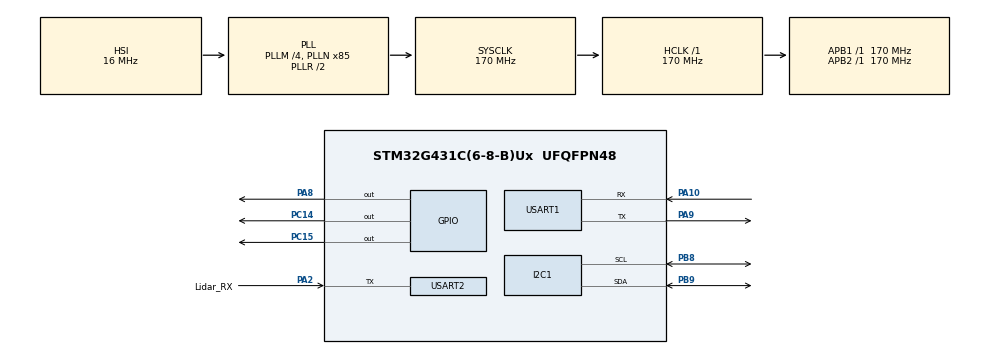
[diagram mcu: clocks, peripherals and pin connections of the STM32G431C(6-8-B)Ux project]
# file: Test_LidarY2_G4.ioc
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Dma.Request0=USART2_RX
Dma.USART2_RX.0.Direction=DMA_PERIPH_TO_MEMORY
Dma.USART2_RX.0.EventEnable=DISABLE
Dma.USART2_RX.0.Instance=DMA1_Channel1
Dma.USART2_RX.0.MemDataAlignment=DMA_MDATAALIGN_BYTE
Dma.USART2_RX.0.MemInc=DMA_MINC_ENABLE
Dma.USART2_RX.0.Mode=DMA_CIRCULAR
Dma.USART2_RX.0.PeriphDataAlignment=DMA_PDATAALIGN_BYTE
Dma.USART2_RX.0.PeriphInc=DMA_PINC_DISABLE
Dma.USART2_RX.0.Polarity=HAL_DMAMUX_REQ_GEN_RISING
Dma.USART2_RX.0.Priority=DMA_PRIORITY_LOW
Dma.USART2_RX.0.RequestNumber=1
Dma.USART2_RX.0.SignalID=NONE
Dma.USART2_RX.0.SyncEnable=DISABLE
Dma.USART2_RX.0.SyncPolarity=HAL_DMAMUX_SYNC_NO_EVENT
Dma.USART2_RX.0.SyncRequestNumber=1
Dma.USART2_RX.0.SyncSignalID=NONE
I2C1.Timing=0x40B285C2
Mcu.Family=STM32G4
Mcu.Name=STM32G431C(6-8-B)Ux
Mcu.Package=UFQFPN48
NVIC.DMA1_Channel1_IRQn=true\:0\:0\:false\:false\:true\:false\:true\:true
NVIC.PriorityGroup=NVIC_PRIORITYGROUP_4
PA10.Mode=Asynchronous
PA10.Signal=USART1_RX
PA13.Mode=Serial_Wire
PA13.Signal=SYS_JTMS-SWDIO
PA14.Mode=Serial_Wire
PA14.Signal=SYS_JTCK-SWCLK
PA2.GPIO_Label=Lidar_RX
PA2.Mode=Half_duplex(single_wire_mode)
PA2.Signal=USART2_TX
PA8.Signal=GPIO_Output
PA9.Mode=Asynchronous
PA9.Signal=USART1_TX
PB8-BOOT0.Mode=I2C
PB8-BOOT0.Signal=I2C1_SCL
PB9.Mode=I2C
PB9.Signal=I2C1_SDA
PC14-OSC32_IN.Signal=GPIO_Output
PC15-OSC32_OUT.Signal=GPIO_Output
ProjectManager.HeapSize=0x200
ProjectManager.StackSize=0x400
ProjectManager.TargetToolchain=STM32CubeIDE
RCC.ADC12Freq_Value=170000000
RCC.AHBFreq_Value=170000000
RCC.APB1Freq_Value=170000000
RCC.APB1TimFreq_Value=170000000
RCC.APB2Freq_Value=170000000
RCC.APB2TimFreq_Value=170000000
RCC.CortexFreq_Value=170000000
RCC.EXTERNAL_CLOCK_VALUE=12288000
RCC.HCLKFreq_Value=170000000
RCC.HSE_VALUE=8000000
RCC.HSI48_VALUE=48000000
RCC.HSI_VALUE=16000000
RCC.LSE_VALUE=32768
RCC.PLLM=RCC_PLLM_DIV4
RCC.PLLN=85
RCC.SYSCLKFreq_VALUE=170000000
RCC.SYSCLKSource=RCC_SYSCLKSOURCE_PLLCLK
RCC.USBFreq_Value=170000000
RCC.VCOOutputFreq_Value=340000000
USART1.VirtualMode-Asynchronous=VM_ASYNC
USART2.Mode=MODE_RX
USART2.VirtualMode-Half_duplex(single_wire_mode)=VM_ASYNC
VP_SYS_VS_DBSignals.Mode=DisableDeadBatterySignals
board=custom

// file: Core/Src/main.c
/* USER CODE BEGIN Header */
/**
  ******************************************************************************
  * @file           : main.c
  * @brief          : Main program body
  ******************************************************************************
  * @attention
  *
  * Copyright (c) 2025 STMicroelectronics.
  * All rights reserved.
  *
  * This software is licensed under terms that can be found in the LICENSE file
  * in the root directory of this software component.
  * If no LICENSE file comes with this software, it is provided AS-IS.
  *
  ******************************************************************************
  */
/* USER CODE END Header */
#include "main.h"
#include "dma.h"
#include "i2c.h"
#include "usart.h"
#include "gpio.h"

/* USER CODE BEGIN Includes */
#include <string.h>
#include <stdio.h>
#include "ydlidar.h"
/* USER CODE END Includes */

/* USER CODE BEGIN PD */
#define DMA_RX_BUFFER_SIZE 1024
/* USER CODE END PD */

/* USER CODE BEGIN PV */
uint8_t dma_rx_buffer[DMA_RX_BUFFER_SIZE];
/* USER CODE END PV */

void SystemClock_Config(void);

/* USER CODE BEGIN 0 */
int __io_putchar(int ch)
{
	HAL_UART_Transmit(&huart1, (uint8_t*)&ch, 1, HAL_MAX_DELAY);
	return ch;
}
/* USER CODE END 0 */

int main(void)
{

  /* MCU Configuration--------------------------------------------------------*/

  /* Reset of all peripherals, Initializes the Flash interface and the Systick. */
  HAL_Init();

  /* Configure the system clock */
  SystemClock_Config();

  /* Initialize all configured peripherals */
  MX_GPIO_Init();
  MX_DMA_Init();
  MX_USART2_UART_Init();
  MX_USART1_UART_Init();
  MX_I2C1_Init();
  /* USER CODE BEGIN 2 */
  ydlidar_init();
  HAL_UART_Receive_DMA(&huart2, dma_rx_buffer, DMA_RX_BUFFER_SIZE);
  /* USER CODE END 2 */

  /* Infinite loop */
  /* USER CODE BEGIN WHILE */
  LidarObject_t detected_objects[MAX_LIDAR_OBJECTS];
  uint8_t object_count = 0;

  while (1)
  {
      ydlidar_detect_objects(detected_objects, &object_count);
      // For testing, we call detect_objects every 100ms.
      // In a FreeRTOS context, this would be a task with a specific frequency.
      HAL_Delay(1000);
    /* USER CODE END WHILE */

  }
}

void SystemClock_Config(void)
{
  RCC_OscInitTypeDef RCC_OscInitStruct = {0};
  RCC_ClkInitTypeDef RCC_ClkInitStruct = {0};

  /** Configure the main internal regulator output voltage
  */
  HAL_PWREx_ControlVoltageScaling(PWR_REGULATOR_VOLTAGE_SCALE1_BOOST);

  /** Initializes the RCC Oscillators according to the specified parameters
  * in the RCC_OscInitTypeDef structure.
  */
  RCC_OscInitStruct.OscillatorType = RCC_OSCILLATORTYPE_HSI;
  RCC_OscInitStruct.HSIState = RCC_HSI_ON;
  RCC_OscInitStruct.HSICalibrationValue = RCC_HSICALIBRATION_DEFAULT;
  RCC_OscInitStruct.PLL.PLLState = RCC_PLL_ON;
  RCC_OscInitStruct.PLL.PLLSource = RCC_PLLSOURCE_HSI;
  RCC_OscInitStruct.PLL.PLLM = RCC_PLLM_DIV4;
  RCC_OscInitStruct.PLL.PLLN = 85;
  RCC_OscInitStruct.PLL.PLLP = RCC_PLLP_DIV2;
  RCC_OscInitStruct.PLL.PLLQ = RCC_PLLQ_DIV2;
  RCC_OscInitStruct.PLL.PLLR = RCC_PLLR_DIV2;
  if (HAL_RCC_OscConfig(&RCC_OscInitStruct) != HAL_OK)
  {
    Error_Handler();
  }

  /** Initializes the CPU, AHB and APB buses clocks
  */
  RCC_ClkInitStruct.ClockType = RCC_CLOCKTYPE_HCLK|RCC_CLOCKTYPE_SYSCLK
                              |RCC_CLOCKTYPE_PCLK1|RCC_CLOCKTYPE_PCLK2;
  RCC_ClkInitStruct.SYSCLKSource = RCC_SYSCLKSOURCE_PLLCLK;
  RCC_ClkInitStruct.AHBCLKDivider = RCC_SYSCLK_DIV1;
  RCC_ClkInitStruct.APB1CLKDivider = RCC_HCLK_DIV1;
  RCC_ClkInitStruct.APB2CLKDivider = RCC_HCLK_DIV1;

  if (HAL_RCC_ClockConfig(&RCC_ClkInitStruct, FLASH_LATENCY_4) != HAL_OK)
  {
    Error_Handler();
  }
}

/* USER CODE BEGIN 4 */
void HAL_UART_RxHalfCpltCallback(UART_HandleTypeDef *huart)
{
  if(huart->Instance == USART2)
  {
	ydlidar_process_data(dma_rx_buffer, DMA_RX_BUFFER_SIZE / 2);
  }
}

void HAL_UART_RxCpltCallback(UART_HandleTypeDef *huart)
{
  if(huart->Instance == USART2)
  {
	ydlidar_process_data(dma_rx_buffer + (DMA_RX_BUFFER_SIZE / 2), DMA_RX_BUFFER_SIZE / 2);
  }
}

void HAL_UART_ErrorCallback(UART_HandleTypeDef *huart)
{
  if(huart->Instance == USART2)
  {
      // Restart reception on error (commonly Overrun)
      HAL_UART_Receive_DMA(&huart2, dma_rx_buffer, DMA_RX_BUFFER_SIZE);
  }
}
/* USER CODE END 4 */

void Error_Handler(void)
{
  __disable_irq();
  while (1)
  {
  }
}
